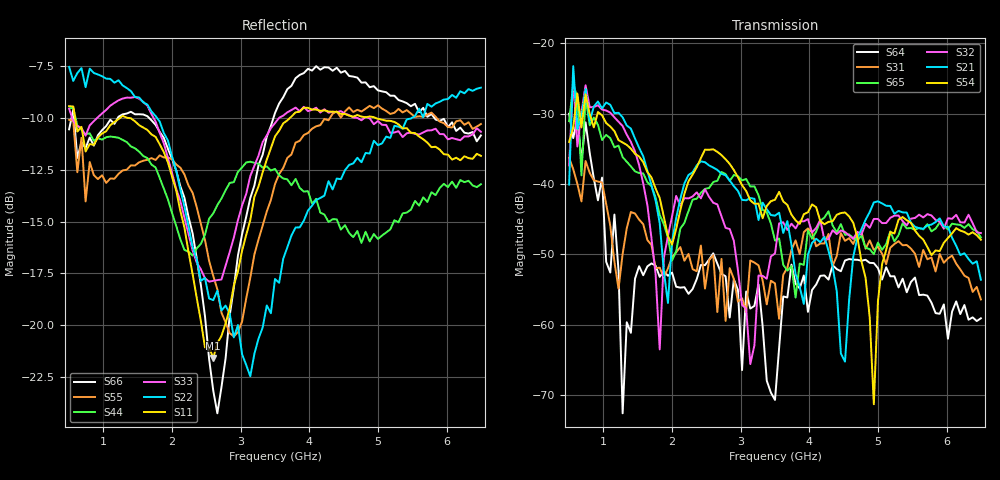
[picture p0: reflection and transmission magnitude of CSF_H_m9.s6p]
!Keysight Technologies,M9804A,MY58100912,A.14.10.03
!Date: Thursday, April 27, 2023 10:28:33
!Correction: S11(C  6-Port  )
!S12(C  6-Port  )
!S13(C  6-Port  )
!S14(C  6-Port  )
!S15(C  6-Port  )
!S16(C  6-Port  )
!S21(C  6-Port  )
!S22(C  6-Port  )
!S23(C  6-Port  )
!S24(C  6-Port  )
!S25(C  6-Port  )
!S26(C  6-Port  )
!S31(C  6-Port  )
!S32(C  6-Port  )
!S33(C  6-Port  )
!S34(C  6-Port  )
!S35(C  6-Port  )
!S36(C  6-Port  )
!S41(C  6-Port  )
!S42(C  6-Port  )
!S43(C  6-Port  )
!S44(C  6-Port  )
!S45(C  6-Port  )
!S46(C  6-Port  )
!S51(C  6-Port  )
!S52(C  6-Port  )
!S53(C  6-Port  )
!S54(C  6-Port  )
!S55(C  6-Port  )
!S56(C  6-Port  )
!S61(C  6-Port  )
!S62(C  6-Port  )
!S63(C  6-Port  )
!S64(C  6-Port  )
!S65(C  6-Port  )
!S66(C  6-Port  )
!S6P File: Measurement: :
# Hz S  RI  R 50
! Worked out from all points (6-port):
!   101 points, 500 MHz to 6.5 GHz, reference 50 ohm
!   strongest paths, dB at 500 MHz, 2 GHz, 3.5 GHz, 5 GHz, 6.5 GHz:
!     S54: -34.0, -48.6, -42.2, -56.7, -47.9
!     S21: -40.1, -48.2, -44.5, -42.5, -53.6
!     S32: -37.4, -44.6, -49.9, -45.0, -47.0
!     S65: -31.1, -50.9, -48.0, -48.3, -47.6
!     S31: -36.3, -50.4, -54.1, -48.9, -56.4
!     S64: -30.0, -52.6, -70.7, -51.9, -59.1
!   lowest |S11| = -21.6 dB at 2.6 GHz (marker M1), VSWR 1.18, Z = 42.6 + j2.05 ohm
!   |S11| at or under -10 dB: 588 MHz to 1.236 GHz (648 MHz wide, 71 % of centre); 1.392 GHz to 3.714 GHz (2.322 GHz wide, 91 % of centre); 4.975 GHz to end of sweep
